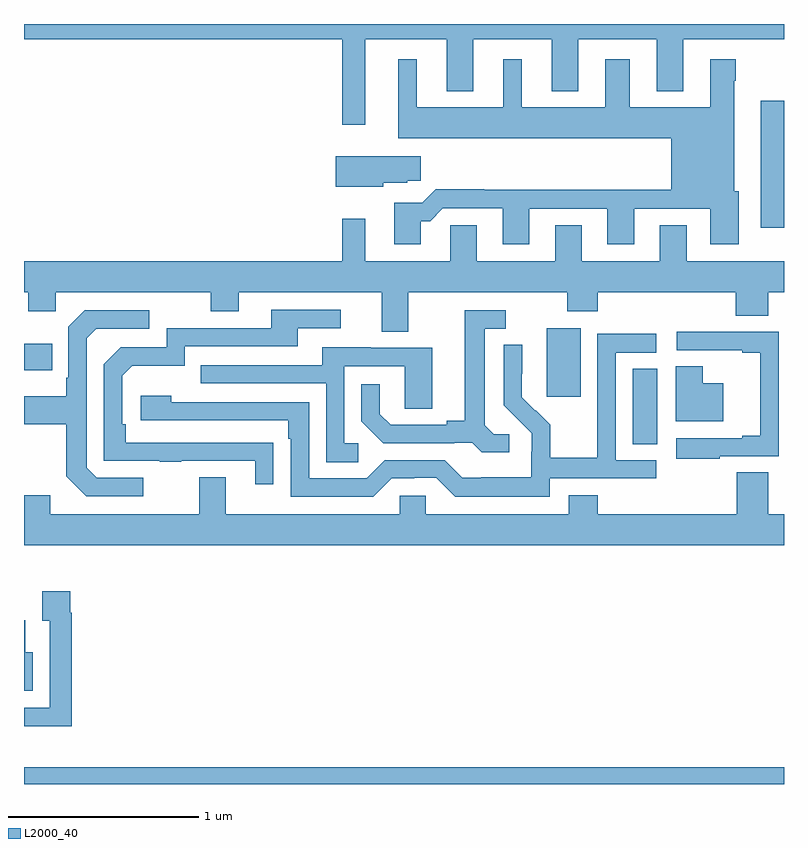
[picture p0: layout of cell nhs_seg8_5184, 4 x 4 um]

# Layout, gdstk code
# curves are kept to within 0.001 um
import gdstk
lib = gdstk.Library(unit=1e-6, precision=1e-09)
def R(c, l, rs):  # rectangles x0, y0, x1, y1
    for r in rs: c.add(gdstk.rectangle(r[:2], r[2:], *l))
def P(c, l, *ps):  # polygons
    for p in ps: c.add(gdstk.Polygon(p, *l))
L2000_40 = (2000, 40)

nhs_seg8_5184 = lib.new_cell('nhs_seg8_5184')
R(nhs_seg8_5184, L2000_40, [(423,1125.9,427,1125.988), (426.203,1127.689,426.334,1128.086), (425.75,1127.937,425.929,1128.298), (423,1128.077,423.149,1128.217), (426.878,1128.828,427,1129.495)])
P(nhs_seg8_5184, L2000_40, [(424.795,1129.82),(425.225,1129.82),(425.225,1129.547),(425.365,1129.547),(425.365,1129.82),(425.777,1129.82),(425.777,1129.547),(425.917,1129.547),(425.917,1129.82),(426.329,1129.82),(426.329,1129.547),(426.469,1129.547),(426.469,1129.82),(427,1129.82),(427,1129.9),(423,1129.9),(423,1129.82),(424.674,1129.82),(424.674,1129.371),(424.795,1129.371)],
  [(425.089,1128.863),(425.138,1128.863),(425.205,1128.93),(425.519,1128.93),(425.519,1128.741),(425.659,1128.741),(425.659,1128.927),(426.071,1128.927),(426.071,1128.741),(426.211,1128.741),(426.211,1128.927),(426.611,1128.927),(426.611,1128.741),(426.763,1128.741),(426.763,1129.02),(426.739,1129.02),(426.739,1129.601),(426.747,1129.601),(426.747,1129.714),(426.611,1129.714),(426.611,1129.462),(426.187,1129.462),(426.187,1129.714),(426.059,1129.714),(426.059,1129.462),(425.62,1129.462),(425.62,1129.714),(425.522,1129.714),(425.522,1129.462),(425.068,1129.462),(425.068,1129.714),(424.97,1129.714),(424.97,1129.298),(426.407,1129.298),(426.407,1129.028),(425.423,1129.028),(425.423,1129.031),(425.168,1129.031),(425.097,1128.96),(424.949,1128.96),(424.949,1128.741),(425.089,1128.741)],
  [(424.89,1129.064),(425.016,1129.064),(425.016,1129.075),(425.089,1129.075),(425.089,1129.204),(424.64,1129.204),(424.64,1129.043),(424.89,1129.043)],
  [(425.023,1128.488),(425.86,1128.488),(425.86,1128.389),(426.02,1128.389),(426.02,1128.488),(426.746,1128.488),(426.746,1128.364),(426.917,1128.364),(426.917,1128.488),(427,1128.488),(427,1128.652),(426.487,1128.652),(426.487,1128.842),(426.347,1128.842),(426.347,1128.652),(425.935,1128.652),(425.935,1128.842),(425.795,1128.842),(425.795,1128.652),(425.383,1128.652),(425.383,1128.842),(425.244,1128.842),(425.244,1128.652),(424.795,1128.652),(424.795,1128.874),(424.674,1128.874),(424.674,1128.652),(423,1128.652),(423,1128.488),(423.022,1128.488),(423.022,1128.389),(423.168,1128.389),(423.168,1128.488),(423.982,1128.488),(423.982,1128.389),(424.129,1128.389),(424.129,1128.488),(424.883,1128.488),(424.883,1128.28),(425.023,1128.28)],
  [(424.313,1127.696),(423.536,1127.697),(423.536,1127.794),(423.516,1127.794),(423.516,1128.048),(423.569,1128.101),(423.846,1128.101),(423.846,1128.204),(424.441,1128.204),(424.441,1128.3),(424.666,1128.3),(424.666,1128.396),(424.301,1128.396),(424.301,1128.3),(423.75,1128.3),(423.75,1128.198),(423.51,1128.198),(423.42,1128.108),(423.42,1127.601),(423.715,1127.601),(423.715,1127.596),(423.827,1127.596),(423.827,1127.601),(424.217,1127.601),(424.217,1127.478),(424.313,1127.478)],
  [(425.554,1127.742),(425.472,1127.742),(425.425,1127.789),(425.425,1128.297),(425.536,1128.297),(425.536,1128.393),(425.321,1128.393),(425.321,1127.813),(425.225,1127.813),(425.225,1127.79),(424.93,1127.79),(424.873,1127.847),(424.873,1128.004),(424.776,1128.004),(424.776,1127.81),(424.892,1127.694),(425.264,1127.694),(425.264,1127.697),(425.358,1127.697),(425.41,1127.645),(425.554,1127.645)],
  [(423.628,1127.511),(423.384,1127.511),(423.33,1127.565),(423.33,1128.246),(423.381,1128.297),(423.658,1128.297),(423.658,1128.393),(423.321,1128.393),(423.234,1128.306),(423.234,1128.037),(423.222,1128.037),(423.222,1127.941),(423,1127.941),(423,1127.794),(423.222,1127.794),(423.222,1127.521),(423.327,1127.415),(423.628,1127.415)],
  [(426.662,1127.625),(426.972,1127.625),(426.972,1128.279),(426.662,1128.279),(426.662,1128.281),(426.435,1128.281),(426.435,1128.183),(426.779,1128.183),(426.779,1128.171),(426.875,1128.171),(426.875,1127.734),(426.779,1127.734),(426.779,1127.721),(426.432,1127.721),(426.432,1127.613),(426.662,1127.613)],
  [(425.766,1127.508),(426.328,1127.508),(426.328,1127.604),(426.114,1127.604),(426.114,1128.171),(426.328,1128.171),(426.328,1128.27),(426.018,1128.27),(426.018,1127.84),(426.016,1127.84),(426.016,1127.617),(425.771,1127.617),(425.771,1127.791),(425.694,1127.868),(425.691,1127.865),(425.621,1127.936),(425.622,1128.212),(425.526,1128.212),(425.526,1127.894),(425.672,1127.746),(425.672,1127.649),(425.67,1127.649),(425.67,1127.515),(425.407,1127.515),(425.407,1127.511),(425.307,1127.511),(425.214,1127.604),(424.899,1127.604),(424.803,1127.508),(424.5,1127.508),(424.5,1127.91),(423.776,1127.91),(423.776,1127.944),(423.615,1127.944),(423.615,1127.814),(424.391,1127.814),(424.391,1127.717),(424.404,1127.717),(424.404,1127.412),(424.839,1127.412),(424.935,1127.508),(425.054,1127.508),(425.054,1127.511),(425.169,1127.511),(425.269,1127.411),(425.766,1127.411)],
  [(424.759,1127.694),(424.686,1127.694),(424.686,1128.099),(425.004,1128.099),(425.004,1127.875),(425.149,1127.875),(425.149,1128.195),(424.825,1128.195),(424.825,1128.199),(424.571,1128.199),(424.571,1128.105),(423.931,1128.105),(423.931,1128.009),(424.59,1128.009),(424.59,1127.593),(424.759,1127.593)],
  [(426.679,1128.01),(426.573,1128.01),(426.573,1128.098),(426.431,1128.098),(426.431,1127.81),(426.679,1127.81)],
  [(427,1127.32),(426.917,1127.32),(426.917,1127.54),(426.751,1127.54),(426.751,1127.32),(426.02,1127.32),(426.02,1127.419),(425.867,1127.419),(425.867,1127.32),(425.115,1127.32),(425.115,1127.418),(424.977,1127.418),(424.977,1127.32),(424.063,1127.32),(424.063,1127.515),(423.923,1127.515),(423.923,1127.32),(423.139,1127.32),(423.139,1127.419),(423,1127.419),(423,1127.156),(427,1127.156)],
  [(423.251,1126.802),(423.244,1126.802),(423.244,1126.915),(423.095,1126.915),(423.095,1126.759),(423.135,1126.759),(423.135,1126.302),(423,1126.302),(423,1126.205),(423.251,1126.205)],
  [(423.046,1126.594),(423.007,1126.594),(423.007,1126.762),(423,1126.762),(423,1126.391),(423.046,1126.391)])

lib.write_gds('nhs_seg8_5184.gds')
